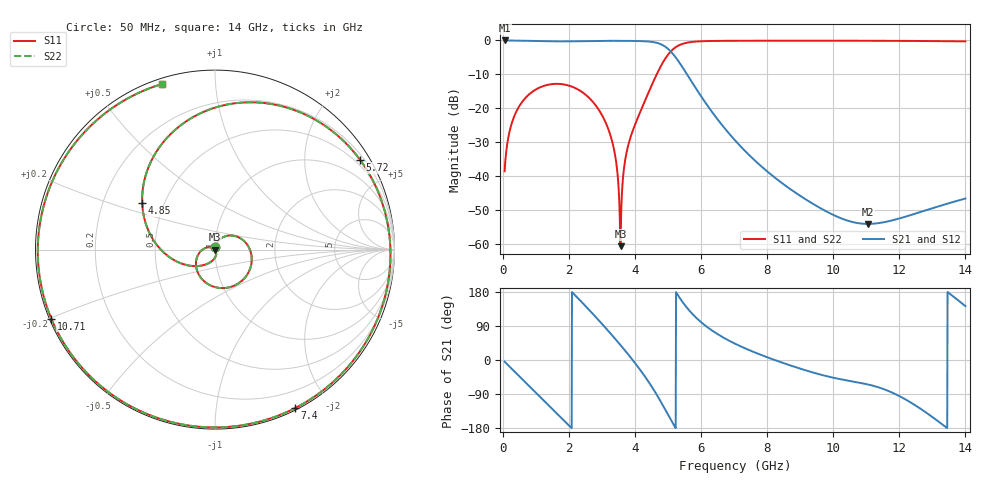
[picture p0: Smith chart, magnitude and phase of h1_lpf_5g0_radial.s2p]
! kicad2ems mom25d 2.5D MoM (f)
! ports: 1=P1, 2=P2
# Hz S RI R 50
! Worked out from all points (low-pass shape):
!   1396 points, 50 MHz to 14 GHz, reference 50 ohm
!   highest |S21| = -0.01 dB at 50 MHz (marker M1); lowest = -54.1 dB at 11.05 GHz (marker M2)
!   |S21| within 3 dB of the highest: start of sweep to 5.055 GHz
!   lowest |S11| = -60.6 dB at 3.56 GHz (marker M3), VSWR 1.00, Z = 50 - j0.0887 ohm
!   |S11| at or under -10 dB: start of sweep to 4.654 GHz
!   |S22| runs from -61.9 to -0.1 dB; largest |S21 - S12| = 0
!   S11 on the Smith chart (normalised r, x): 50 MHz: 1.00, +0.02; 4.85 GHz: 0.38, +0.25; 5.72 GHz: 0.34, +3.48; 7.4 GHz: 0.02, -1.62; 10.71 GHz: 0.01, -0.20; 14 GHz: 0.02, +0.73
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5e7  0.00134 0.0117  0.9964 -0.0763  0.9964 -0.0763  0.00134 0.0117
3.9e8  0.0491 0.0712  0.8246 -0.5553  0.8246 -0.5553  0.0491 0.0712
1.14e9  0.2029 -0.031  -0.1432 -0.9635  -0.1432 -0.9635  0.2029 -0.031
1.82e9  0.0882 -0.2077  -0.8906 -0.3775  -0.8906 -0.3775  0.0882 -0.2077
2.38e9  -0.0786 -0.1572  -0.871 0.4394  -0.871 0.4394  -0.0785 -0.1572
3.23e9  -0.0417 0.0122  0.2945 0.9423  0.2945 0.9423  -0.0416 0.0123
3.41e9  -0.0154 0.01  0.5717 0.8047  0.5717 0.8047  -0.0154 0.0101
3.56e9  -0.000278 -0.000887  0.7639 0.624  0.7639 0.624  -0.000141 -0.000789
3.74e9  0.00684 -0.021  0.9237 0.3422  0.9237 0.3422  0.00703 -0.0209
4.12e9  -0.0319 -0.0738  0.9079 -0.3667  0.9079 -0.3667  -0.0317 -0.0739
4.7e9  -0.3465 0.0585  -0.1287 -0.9002  -0.1287 -0.9002  -0.3466 0.0583
4.85e9  -0.4057 0.2585  -0.4366 -0.7242  -0.4366 -0.7242  -0.4058 0.2584
5.28e9  0.114 0.8157  -0.5173 0.0605  -0.5173 0.0605  0.114 0.8157
5.72e9  0.808 0.5005  -0.1324 0.2044  -0.1324 0.2044  0.8081 0.5004
6.23e9  0.9725 -0.1232  0.0109 0.1026  0.0109 0.1026  0.9725 -0.1233
7.03e9  0.6559 -0.7394  0.0246 0.0228  0.0246 0.0228  0.6559 -0.7395
7.4e9  0.4459 -0.8834  0.0191 0.0102  0.0191 0.0102  0.4458 -0.8834
9.35e9  -0.5334 -0.8355  0.00339 -0.00213  0.00339 -0.00213  -0.5334 -0.8355
1.071e10  -0.9124 -0.3843  0.00107 -0.00175  0.00107 -0.00175  -0.9123 -0.3843
1.105e10  -0.959 -0.2428  0.00085 -0.00179  0.00085 -0.00179  -0.9589 -0.2428
1.168e10  -0.9864 0.0377  0.000299 -0.00215  0.000299 -0.00215  -0.9864 0.0376
1.4e10  -0.2964 0.922  -0.0037 0.00287  -0.0037 0.00287  -0.2967 0.9219
